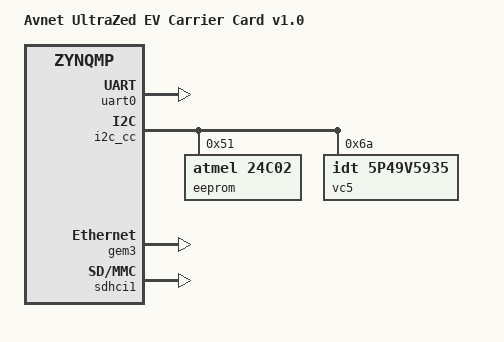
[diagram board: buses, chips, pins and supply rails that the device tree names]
// SPDX-License-Identifier: GPL-2.0+ OR X11

/*
 * UltraZed-EV Carrier Card v1 (based on the UltraZed-EV SoM)
 * http://ultrazed.org/product/ultrazed-ev-carrier-card
 */

/dts-v1/;

#include "avnet-ultrazedev-som-v1.0.dtsi"

/ {
	model = "Avnet UltraZed EV Carrier Card v1.0";
	compatible = "avnet,ultrazedev-cc-v1.0-ultrazedev-som-v1.0",
		     "xlnx,zynqmp";
	chosen {
		stdout-path = "serial0:115200n8";
	};
	aliases {
		ethernet0 = &gem3;
		nvmem0 = &eeprom;
		serial0 = &uart0;
	};
};

&uart0 {
	device_type = "serial";
	status = "okay";
};

&i2c_cc {
	/* Microchip 24AA025E48T-I/OT: 2K I2C Serial EEPROM with EUI-48 */
	eeprom: eeprom@51 {
		compatible = "atmel,24c02";
		reg = <0x51>;
	};

	/* IDT Versa Clock 5P49V5935B */
	vc5: clock-generator@6a {
		compatible = "idt,5p49v5935";
		reg = <0x6a>;
		#clock-cells = <1>;
	};
};

/* Ethernet RJ-45 */
&gem3 {
	status = "okay";
};

/* microSD card slot */
&sdhci1 {
	status = "okay";
	xlnx,mio-bank = <1>;
	clock-frequency = <199998000>;
	max-frequency = <50000000>;
	no-1-8-v;
	disable-wp;
};
